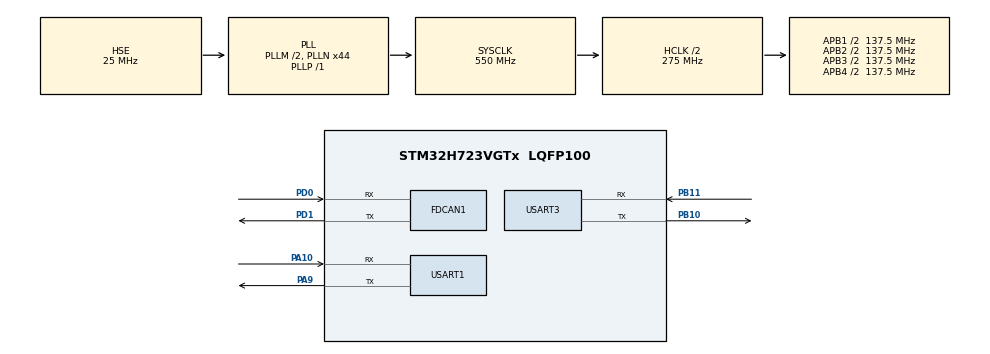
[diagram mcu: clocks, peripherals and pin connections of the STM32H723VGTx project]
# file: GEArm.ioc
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CORTEX_M7.CPU_DCache=Enabled
CORTEX_M7.CPU_ICache=Enabled
CORTEX_M7.default_mode_Activation=1
Dma.Request0=USART3_RX
Dma.USART3_RX.0.Direction=DMA_PERIPH_TO_MEMORY
Dma.USART3_RX.0.EventEnable=DISABLE
Dma.USART3_RX.0.FIFOMode=DMA_FIFOMODE_DISABLE
Dma.USART3_RX.0.Instance=DMA1_Stream0
Dma.USART3_RX.0.MemDataAlignment=DMA_MDATAALIGN_BYTE
Dma.USART3_RX.0.MemInc=DMA_MINC_ENABLE
Dma.USART3_RX.0.Mode=DMA_NORMAL
Dma.USART3_RX.0.PeriphDataAlignment=DMA_PDATAALIGN_BYTE
Dma.USART3_RX.0.PeriphInc=DMA_PINC_DISABLE
Dma.USART3_RX.0.Polarity=HAL_DMAMUX_REQ_GEN_RISING
Dma.USART3_RX.0.Priority=DMA_PRIORITY_LOW
Dma.USART3_RX.0.RequestNumber=1
Dma.USART3_RX.0.SignalID=NONE
Dma.USART3_RX.0.SyncEnable=DISABLE
Dma.USART3_RX.0.SyncPolarity=HAL_DMAMUX_SYNC_NO_EVENT
Dma.USART3_RX.0.SyncRequestNumber=1
Dma.USART3_RX.0.SyncSignalID=NONE
FDCAN1.CalculateBaudRateNominal=500000
FDCAN1.CalculateTimeBitNominal=2000
FDCAN1.CalculateTimeQuantumNominal=80.0
FDCAN1.NominalPrescaler=11
FDCAN1.NominalSyncJumpWidth=4
FDCAN1.NominalTimeSeg1=20
FDCAN1.NominalTimeSeg2=4
FDCAN1.RxFifo0ElmtsNbr=32
FDCAN1.StdFiltersNbr=1
FREERTOS.Tasks01=defaultTask,24,128,StartDefaultTask,Default,NULL,Dynamic,NULL,NULL
FREERTOS.configENABLE_FPU=1
FREERTOS.configUSE_NEWLIB_REENTRANT=1
Mcu.Family=STM32H7
Mcu.Name=STM32H723VGTx
Mcu.Package=LQFP100
NVIC.DMA1_Stream0_IRQn=true\:0\:0\:false\:false\:true\:false\:true\:true
NVIC.PriorityGroup=NVIC_PRIORITYGROUP_4
NVIC.TIM6_DAC_IRQn=true\:15\:0\:false\:false\:true\:false\:true\:true
NVIC.TimeBase=TIM6_DAC_IRQn
NVIC.TimeBaseIP=TIM6
NVIC.USART3_IRQn=true\:0\:0\:false\:false\:true\:true\:true\:true
PD0.Mode=FDCAN_Activate
PD0.Signal=FDCAN1_RX
PD1.Mode=FDCAN_Activate
PD1.Signal=FDCAN1_TX
PA13(JTMS/SWDIO).Mode=Serial_Wire
PA13(JTMS/SWDIO).Signal=DEBUG_JTMS-SWDIO
PA14(JTCK/SWCLK).Mode=Serial_Wire
PA14(JTCK/SWCLK).Signal=DEBUG_JTCK-SWCLK
PB10.Mode=Asynchronous
PB10.Signal=USART3_TX
PB11.Mode=Asynchronous
PB11.Signal=USART3_RX
PA9.Mode=Asynchronous
PA9.Signal=USART1_TX
PA10.Mode=Asynchronous
PA10.Signal=USART1_RX
PH0-OSC_IN.Mode=HSE-External-Oscillator
PH0-OSC_IN.Signal=RCC_OSC_IN
PH1-OSC_OUT.Mode=HSE-External-Oscillator
PH1-OSC_OUT.Signal=RCC_OSC_OUT
ProjectManager.HeapSize=0x200
ProjectManager.StackSize=0x400
ProjectManager.TargetToolchain=STM32CubeIDE
RCC.ADCFreq_Value=50390625
RCC.APB1Freq_Value=137500000
RCC.APB2Freq_Value=137500000
RCC.APB3Freq_Value=137500000
RCC.APB4Freq_Value=137500000
RCC.CortexFreq_Value=550000000
RCC.D1PPRE=RCC_APB3_DIV2
RCC.D2PPRE1=RCC_APB1_DIV2
RCC.D2PPRE2=RCC_APB2_DIV2
RCC.D3PPRE=RCC_APB4_DIV2
RCC.DIVM1=2
RCC.DIVN1=44
RCC.DIVP1=1
RCC.DIVQ1=4
RCC.HCLKFreq_Value=275000000
RCC.HPRE=RCC_HCLK_DIV2
RCC.PLLFRACN=0
RCC.PLLSourceVirtual=RCC_PLLSOURCE_HSE
RCC.SYSCLKFreq_VALUE=550000000
RCC.SYSCLKSource=RCC_SYSCLKSOURCE_PLLCLK
RCC.USBFreq_Value=137500000
USART1.VirtualMode-Asynchronous=VM_ASYNC
USART3.VirtualMode-Asynchronous=VM_ASYNC
VP_FREERTOS_VS_CMSIS_V2.Mode=CMSIS_V2
VP_MEMORYMAP_VS_MEMORYMAP.Mode=CurAppReg
VP_RNG_VS_RNG.Mode=RNG_Activate
VP_SYS_VS_tim6.Mode=TIM6
board=custom

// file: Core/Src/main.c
/* USER CODE BEGIN Header */
/**
  ******************************************************************************
  * @file           : main.c
  * @brief          : Main program body
  ******************************************************************************
  * @attention
  *
  * Copyright (c) 2026 STMicroelectronics.
  * All rights reserved.
  *
  * This software is licensed under terms that can be found in the LICENSE file
  * in the root directory of this software component.
  * If no LICENSE file comes with this software, it is provided AS-IS.
  *
  ******************************************************************************
  */
/* USER CODE END Header */
#include "main.h"
#include "cmsis_os.h"
#include "dma.h"
#include "fdcan.h"
#include "rng.h"
#include "usart.h"
#include "gpio.h"
#include "robot.h"
#include "usb_device.h"   /* 2026-10-28 新增：USB CDC 控制链路 */

void SystemClock_Config(void);
static void MPU_Config(void);
void MX_FREERTOS_Init(void);

int main(void)
{

  /* MPU Configuration--------------------------------------------------------*/
  MPU_Config();

  /* MCU Configuration--------------------------------------------------------*/

  /* Reset of all peripherals, Initializes the Flash interface and the Systick. */
  HAL_Init();

  /* USER CODE BEGIN Init */
  /* Enable the CPU Cache ---------------------------------------------------*/
  SCB_EnableICache();
  SCB_EnableDCache();
  /* USER CODE END Init */

  /* Configure the system clock */
  SystemClock_Config();

  /* Initialize all configured peripherals */
  MX_GPIO_Init();
  MX_DMA_Init();
  MX_USART1_UART_Init();
  MX_USART3_UART_Init();
  MX_FDCAN1_Init();
  MX_RNG_Init();
  /* USER CODE BEGIN 2 */
  /* USB CDC 控制链路（2026-10-28 新增）。
     放在这里而不是 MX_GPIO_Init 生成区，原因和 LimitSwitch_Init 一样：
     .ioc 里没有声明 USB 外设，放生成区会被 CubeMX 重新生成时静默删掉。
     枚举后 PC 上会出现一个 COM 口（VID 0483 / PID 5740），Web/bridge 走这条链路。 */
  MX_USB_DEVICE_Init();

  /* USB PHY 引脚：PA11=DM / PA12=DP 必须显式配成 AF10（USB_OTG_HS）。
     不配的后果：这两个脚停在复位后的 Analog 模式，USB PHY 没接到引脚上，
     表现为"时钟开了、中断有了、USBD_Init 也返回 OK，但 PC 永远枚举不出设备"。
     官方 CtrBoard-H7_USB 例程的 gpio.c / hal_msp.c / usbd_conf.c 一处都没配
     这两个脚（.ioc 里声明了外设但生成代码漏了 GPIO），照抄必踩。
     放在这里而不是 MX_GPIO_Init 生成区，理由同 LimitSwitch_Init：
     .ioc 里没有声明 USB 外设，放生成区会被 CubeMX 重新生成时静默删掉。 */
  {
    GPIO_InitTypeDef usb_gpio;
    usb_gpio.Pin = GPIO_PIN_11 | GPIO_PIN_12;   /* PA11=DM, PA12=DP */
    usb_gpio.Mode = GPIO_MODE_AF_PP;
    usb_gpio.Pull = GPIO_NOPULL;
    usb_gpio.Speed = GPIO_SPEED_FREQ_VERY_HIGH;
    usb_gpio.Alternate = GPIO_AF10_OTG1_HS;   /* H7 上叫 OTG1_HS，F4 时代的 USB_HS 名不存在 */
    HAL_GPIO_Init(GPIOA, &usb_gpio);
  }

  LimitSwitch_Init();  /* 限位开关 EXTI NVIC + GPIO 时钟（必须在 USER CODE 区，不可放 MX_GPIO_Init 生成区） */

  /* ---------------------------------------------------------------------------
   * FDCAN 过滤器：只收张大头的扩展帧回包
   *
   * 厂商协议：ID = (Addr << 8) | Packet，地址 1..6 对应 0x100..0x600。
   * 配 6 条精确过滤项，每条比对高 21 位（地址部分），低 8 位（包号）放行，
   * 这样同一电机的多包回包（0x100、0x101…）都能收进来。
   *
   * 原来是标准帧 accept-all（IdType=STANDARD, FilterID 全 0），而电机回包是
   * 扩展帧——靠 GFC 复位默认值才能进 FIFO0，属于"碰巧能用"，不是可靠配置。
   * --------------------------------------------------------------------------- */
  for (uint8_t i = 0; i < 6; i++)
  {
    FDCAN_FilterTypeDef sFilterConfig;
    sFilterConfig.IdType       = FDCAN_EXTENDED_ID;
    sFilterConfig.FilterIndex  = i;
    sFilterConfig.FilterType   = FDCAN_FILTER_MASK;
    sFilterConfig.FilterConfig = FDCAN_FILTER_TO_RXFIFO0;
    sFilterConfig.FilterID1    = (uint32_t)(i + 1) << 8;   /* 0x100, 0x200, ... */
    sFilterConfig.FilterID2    = 0x1FFFFF00;               /* 比对地址位，放行包号 */
    if (HAL_FDCAN_ConfigFilter(&hfdcan1, &sFilterConfig) != HAL_OK)
    {
      Error_Handler();
    }
  }

  /* 显式拒收未匹配帧和远程帧，不依赖复位默认值 */
  if (HAL_FDCAN_ConfigGlobalFilter(&hfdcan1,
                                   FDCAN_REJECT, FDCAN_REJECT,
                                   FDCAN_REJECT_REMOTE, FDCAN_REJECT_REMOTE) != HAL_OK)
  {
    Error_Handler();
  }

  // Start FDCAN
  if (HAL_FDCAN_Start(&hfdcan1) != HAL_OK)
  {
    Error_Handler();
  }

  // Activate Notification for Rx FIFO 0 new message
  if (HAL_FDCAN_ActivateNotification(&hfdcan1, FDCAN_IT_RX_FIFO0_NEW_MESSAGE, 0) != HAL_OK)
  {
    Error_Handler();
  }

  /* USER CODE END 2 */

  /* Init scheduler */
  osKernelInitialize();  /* Call init function for freertos objects (in cmsis_os2.c) */
  MX_FREERTOS_Init();

  /* Start scheduler */
  osKernelStart();

  /* We should never get here as control is now taken by the scheduler */

  /* Infinite loop */
  while (1)
  {

  }
}

void SystemClock_Config(void)
{
  RCC_OscInitTypeDef RCC_OscInitStruct = {0};
  RCC_ClkInitTypeDef RCC_ClkInitStruct = {0};

  /** Supply configuration update enable
  */
  HAL_PWREx_ConfigSupply(PWR_LDO_SUPPLY);

  /** Configure the main internal regulator output voltage
  */
  __HAL_PWR_VOLTAGESCALING_CONFIG(PWR_REGULATOR_VOLTAGE_SCALE0);

  while(!__HAL_PWR_GET_FLAG(PWR_FLAG_VOSRDY)) {}

  /** Initializes the RCC Oscillators according to the specified parameters
  * in the RCC_OscInitTypeDef structure.
  */
  RCC_OscInitStruct.OscillatorType = RCC_OSCILLATORTYPE_HSI48|RCC_OSCILLATORTYPE_HSE;
  RCC_OscInitStruct.HSEState = RCC_HSE_ON;
  RCC_OscInitStruct.HSI48State = RCC_HSI48_ON;
  RCC_OscInitStruct.PLL.PLLState = RCC_PLL_ON;
  RCC_OscInitStruct.PLL.PLLSource = RCC_PLLSOURCE_HSE;
  RCC_OscInitStruct.PLL.PLLM = 2;
  RCC_OscInitStruct.PLL.PLLN = 44;
  RCC_OscInitStruct.PLL.PLLP = 1;
  RCC_OscInitStruct.PLL.PLLQ = 4;
  RCC_OscInitStruct.PLL.PLLR = 2;
  RCC_OscInitStruct.PLL.PLLRGE = RCC_PLL1VCIRANGE_3;
  RCC_OscInitStruct.PLL.PLLVCOSEL = RCC_PLL1VCOWIDE;
  RCC_OscInitStruct.PLL.PLLFRACN = 0;
  if (HAL_RCC_OscConfig(&RCC_OscInitStruct) != HAL_OK)
  {
    Error_Handler();
  }

  /** Initializes the CPU, AHB and APB buses clocks
  */
  RCC_ClkInitStruct.ClockType = RCC_CLOCKTYPE_HCLK|RCC_CLOCKTYPE_SYSCLK
                              |RCC_CLOCKTYPE_PCLK1|RCC_CLOCKTYPE_PCLK2
                              |RCC_CLOCKTYPE_D3PCLK1|RCC_CLOCKTYPE_D1PCLK1;
  RCC_ClkInitStruct.SYSCLKSource = RCC_SYSCLKSOURCE_PLLCLK;
  RCC_ClkInitStruct.SYSCLKDivider = RCC_SYSCLK_DIV1;
  RCC_ClkInitStruct.AHBCLKDivider = RCC_HCLK_DIV2;
  RCC_ClkInitStruct.APB3CLKDivider = RCC_APB3_DIV2;
  RCC_ClkInitStruct.APB1CLKDivider = RCC_APB1_DIV2;
  RCC_ClkInitStruct.APB2CLKDivider = RCC_APB2_DIV2;
  RCC_ClkInitStruct.APB4CLKDivider = RCC_APB4_DIV2;

  if (HAL_RCC_ClockConfig(&RCC_ClkInitStruct, FLASH_LATENCY_3) != HAL_OK)
  {
    Error_Handler();
  }
}

 /* MPU Configuration */

void MPU_Config(void)
{
  MPU_Region_InitTypeDef MPU_InitStruct = {0};

  /* Disables the MPU */
  HAL_MPU_Disable();

  /** Initializes and configures the Region and the memory to be protected
  */
  MPU_InitStruct.Enable = MPU_REGION_ENABLE;
  MPU_InitStruct.Number = MPU_REGION_NUMBER0;
  MPU_InitStruct.BaseAddress = 0x0;
  MPU_InitStruct.Size = MPU_REGION_SIZE_4GB;
  MPU_InitStruct.SubRegionDisable = 0x87;
  MPU_InitStruct.TypeExtField = MPU_TEX_LEVEL0;
  MPU_InitStruct.AccessPermission = MPU_REGION_NO_ACCESS;
  MPU_InitStruct.DisableExec = MPU_INSTRUCTION_ACCESS_DISABLE;
  MPU_InitStruct.IsShareable = MPU_ACCESS_SHAREABLE;
  MPU_InitStruct.IsCacheable = MPU_ACCESS_NOT_CACHEABLE;
  MPU_InitStruct.IsBufferable = MPU_ACCESS_NOT_BUFFERABLE;

  HAL_MPU_ConfigRegion(&MPU_InitStruct);
  /* Enables the MPU */
  HAL_MPU_Enable(MPU_PRIVILEGED_DEFAULT);

}

/* ===================== USB CDC 中断转发（2026-10-28 新增）=====================
 * 启动文件对 OTG_HS 向量只提供 weak 默认实现（Infinite_Loop 死循环）。
 * 没有这个强实现，USBD_Start() 之后第一个 USB 中断就会把 CPU 停死在死循环里，
 * 主循环再也不跑 —— 表现为"USB 枚举出来了但发什么都不回应"。
 * hpcd_USB_OTG_HS 定义在 usb/Target/usbd_conf.c，没有对应的头文件声明，
 * 所以这里用 extern 引入。 */
extern PCD_HandleTypeDef hpcd_USB_OTG_HS;
void OTG_HS_IRQHandler(void)
{
  HAL_PCD_IRQHandler(&hpcd_USB_OTG_HS);
}

void HAL_TIM_PeriodElapsedCallback(TIM_HandleTypeDef *htim)
{
  /* USER CODE BEGIN Callback 0 */
  if (htim->Instance == TIM6)
  {
    /* 限位开关轮询（1kHz）。TIM6 本就是 HAL timebase，不额外占定时器/中断。
       原来这里靠 EXTI 中断检测，2026-10-28 改为轮询，原因见 robot.c
       robot_joint_limit_set_irq() 的注释（PA02/PD02 同号，EXTI 线只能路由一个端口）。 */
    robot_limit_poll();
  }
  /* USER CODE END Callback 0 */
  if (htim->Instance == TIM6)
  {
    HAL_IncTick();
  }
}

void Error_Handler(void)
{
  __disable_irq();
  while (1)
  {
  }
}

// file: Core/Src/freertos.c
/* USER CODE BEGIN Header */
/**
  ******************************************************************************
  * File Name          : freertos.c
  * Description        : Code for freertos applications
  ******************************************************************************
  * @attention
  *
  * Copyright (c) 2026 STMicroelectronics.
  * All rights reserved.
  *
  * This software is licensed under terms that can be found in the LICENSE file
  * in the root directory of this software component.
  * If no LICENSE file comes with this software, it is provided AS-IS.
  *
  ******************************************************************************
  */
/* USER CODE END Header */

#include "FreeRTOS.h"
#include "task.h"
#include "main.h"
#include "cmsis_os.h"

/* USER CODE BEGIN Includes */
#include "robot.h"
/* USER CODE END Includes */

/* Definitions for defaultTask */
osThreadId_t defaultTaskHandle;
const osThreadAttr_t defaultTask_attributes = {
  .name = "defaultTask",
  .stack_size = 128 * 4,
  .priority = (osPriority_t) osPriorityNormal,
};

void StartDefaultTask(void *argument);

void MX_FREERTOS_Init(void); /* (MISRA C 2004 rule 8.1) */

void MX_FREERTOS_Init(void) {

  /* Create the thread(s) */
  /* creation of defaultTask */
  defaultTaskHandle = osThreadNew(StartDefaultTask, NULL, &defaultTask_attributes);

}

void StartDefaultTask(void *argument)
{
  /* USER CODE BEGIN StartDefaultTask */
  robot_init();
  /* Infinite loop */
  for(;;)
  {
    osDelay(1);
  }
  /* USER CODE END StartDefaultTask */
}
